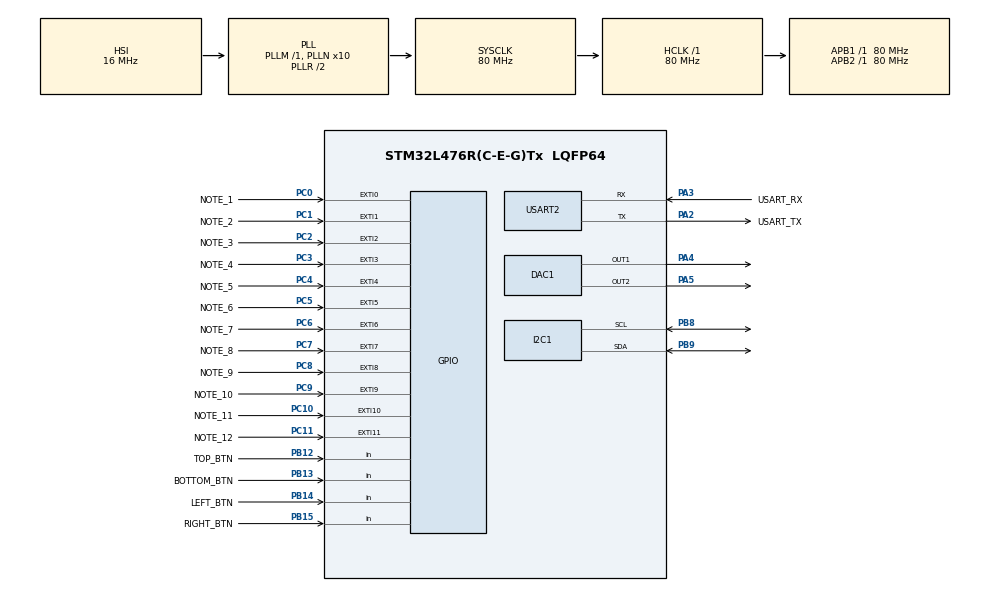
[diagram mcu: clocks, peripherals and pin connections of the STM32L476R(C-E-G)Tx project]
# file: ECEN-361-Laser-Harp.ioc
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DAC1.DAC_Channel-DAC_OUT2=DAC_CHANNEL_2
I2C1.Timing=0x10909CEC
Mcu.Family=STM32L4
Mcu.Name=STM32L476R(C-E-G)Tx
Mcu.Package=LQFP64
NVIC.EXTI0_IRQn=true\:0\:0\:false\:false\:true\:true\:true\:true
NVIC.EXTI15_10_IRQn=true\:0\:0\:false\:false\:true\:true\:true\:true
NVIC.EXTI1_IRQn=true\:0\:0\:false\:false\:true\:true\:true\:true
NVIC.EXTI2_IRQn=true\:0\:0\:false\:false\:true\:true\:true\:true
NVIC.EXTI3_IRQn=true\:0\:0\:false\:false\:true\:true\:true\:true
NVIC.EXTI4_IRQn=true\:0\:0\:false\:false\:true\:true\:true\:true
NVIC.EXTI9_5_IRQn=true\:0\:0\:false\:false\:true\:true\:true\:true
NVIC.PriorityGroup=NVIC_PRIORITYGROUP_4
NVIC.TIM1_BRK_TIM15_IRQn=true\:0\:0\:false\:false\:true\:true\:true\:true
NVIC.TIM1_UP_TIM16_IRQn=true\:0\:0\:false\:false\:true\:true\:true\:true
NVIC.TIM6_DAC_IRQn=true\:0\:0\:false\:false\:true\:true\:true\:true
NVIC.USART2_IRQn=true\:0\:0\:false\:false\:true\:true\:true\:true
PA13\ (JTMS-SWDIO).GPIO_Label=TMS
PA13\ (JTMS-SWDIO).Mode=Serial_Wire
PA13\ (JTMS-SWDIO).Signal=SYS_JTMS-SWDIO
PA14\ (JTCK-SWCLK).GPIO_Label=TCK
PA14\ (JTCK-SWCLK).Mode=Serial_Wire
PA14\ (JTCK-SWCLK).Signal=SYS_JTCK-SWCLK
PA2.GPIO_Label=USART_TX
PA2.GPIO_Mode=GPIO_MODE_AF_PP
PA2.GPIO_PuPd=GPIO_NOPULL
PA2.GPIO_Speed=GPIO_SPEED_FREQ_VERY_HIGH
PA2.Mode=Asynchronous
PA2.Signal=USART2_TX
PA3.GPIO_Label=USART_RX
PA3.GPIO_Mode=GPIO_MODE_AF_PP
PA3.GPIO_PuPd=GPIO_NOPULL
PA3.GPIO_Speed=GPIO_SPEED_FREQ_VERY_HIGH
PA3.Mode=Asynchronous
PA3.Signal=USART2_RX
PA4.Signal=COMP_DAC11_group
PA5.Signal=COMP_DAC12_group
PB12.GPIO_Label=TOP_BTN
PB12.GPIO_PuPd=GPIO_PULLUP
PB12.Signal=GPIO_Input
PB13.GPIO_Label=BOTTOM_BTN
PB13.GPIO_PuPd=GPIO_PULLUP
PB13.Signal=GPIO_Input
PB14.GPIO_Label=LEFT_BTN
PB14.GPIO_PuPd=GPIO_PULLUP
PB14.Signal=GPIO_Input
PB15.GPIO_Label=RIGHT_BTN
PB15.GPIO_PuPd=GPIO_PULLUP
PB15.Signal=GPIO_Input
PB3\ (JTDO-TRACESWO).GPIO_Label=SWO
PB3\ (JTDO-TRACESWO).Signal=SYS_JTDO-SWO
PB8.Mode=I2C
PB8.Signal=I2C1_SCL
PB9.Mode=I2C
PB9.Signal=I2C1_SDA
PC0.GPIO_Label=NOTE_1
PC0.GPIO_ModeDefaultEXTI=GPIO_MODE_IT_RISING_FALLING
PC0.Signal=GPXTI0
PC1.GPIO_Label=NOTE_2
PC1.GPIO_ModeDefaultEXTI=GPIO_MODE_IT_RISING_FALLING
PC1.GPIO_PuPd=GPIO_NOPULL
PC1.Signal=GPXTI1
PC10.GPIO_Label=NOTE_11
PC10.GPIO_ModeDefaultEXTI=GPIO_MODE_IT_RISING_FALLING
PC10.GPIO_PuPd=GPIO_NOPULL
PC10.Signal=GPXTI10
PC11.GPIO_Label=NOTE_12
PC11.GPIO_ModeDefaultEXTI=GPIO_MODE_IT_RISING_FALLING
PC11.GPIO_PuPd=GPIO_NOPULL
PC11.Signal=GPXTI11
PC14-OSC32_IN\ (PC14).Mode=LSE-External-Oscillator
PC14-OSC32_IN\ (PC14).Signal=RCC_OSC32_IN
PC15-OSC32_OUT\ (PC15).Mode=LSE-External-Oscillator
PC15-OSC32_OUT\ (PC15).Signal=RCC_OSC32_OUT
PC2.GPIO_Label=NOTE_3
PC2.GPIO_ModeDefaultEXTI=GPIO_MODE_IT_RISING_FALLING
PC2.GPIO_PuPd=GPIO_NOPULL
PC2.Signal=GPXTI2
PC3.GPIO_Label=NOTE_4
PC3.GPIO_ModeDefaultEXTI=GPIO_MODE_IT_RISING_FALLING
PC3.GPIO_PuPd=GPIO_NOPULL
PC3.Signal=GPXTI3
PC4.GPIO_Label=NOTE_5
PC4.GPIO_ModeDefaultEXTI=GPIO_MODE_IT_RISING_FALLING
PC4.Signal=GPXTI4
PC5.GPIO_Label=NOTE_6
PC5.GPIO_ModeDefaultEXTI=GPIO_MODE_IT_RISING_FALLING
PC5.Signal=GPXTI5
PC6.GPIO_Label=NOTE_7
PC6.GPIO_ModeDefaultEXTI=GPIO_MODE_IT_RISING_FALLING
PC6.Signal=GPXTI6
PC7.GPIO_Label=NOTE_8
PC7.GPIO_ModeDefaultEXTI=GPIO_MODE_IT_RISING_FALLING
PC7.Signal=GPXTI7
PC8.GPIO_Label=NOTE_9
PC8.GPIO_ModeDefaultEXTI=GPIO_MODE_IT_RISING_FALLING
PC8.GPIO_PuPd=GPIO_NOPULL
PC8.Signal=GPXTI8
PC9.GPIO_Label=NOTE_10
PC9.GPIO_ModeDefaultEXTI=GPIO_MODE_IT_RISING_FALLING
PC9.GPIO_PuPd=GPIO_NOPULL
PC9.Signal=GPXTI9
PH0-OSC_IN\ (PH0).Signal=RCC_OSC_IN
PH1-OSC_OUT\ (PH1).Signal=RCC_OSC_OUT
ProjectManager.HeapSize=0x200
ProjectManager.StackSize=0x400
ProjectManager.TargetToolchain=STM32CubeIDE
RCC.ADCFreq_Value=64000000
RCC.AHBFreq_Value=80000000
RCC.APB1Freq_Value=80000000
RCC.APB1TimFreq_Value=80000000
RCC.APB2Freq_Value=80000000
RCC.APB2TimFreq_Value=80000000
RCC.CortexFreq_Value=80000000
RCC.HCLKFreq_Value=80000000
RCC.HSE_VALUE=8000000
RCC.HSI_VALUE=16000000
RCC.MSI_VALUE=4000000
RCC.PLLN=10
RCC.PLLSourceVirtual=RCC_PLLSOURCE_HSI
RCC.PREFETCH_ENABLE=1
RCC.SYSCLKFreq_VALUE=80000000
RCC.SYSCLKSource=RCC_SYSCLKSOURCE_PLLCLK
RCC.USBFreq_Value=64000000
RCC.VCOOutputFreq_Value=160000000
SH.COMP_DAC11_group.0=DAC1_OUT1,DAC_OUT1
SH.COMP_DAC12_group.0=DAC1_OUT2,DAC_OUT2
TIM15.AutoReloadPreload=TIM_AUTORELOAD_PRELOAD_ENABLE
TIM15.Period=9
TIM15.Prescaler=80-1
TIM16.AutoReloadPreload=TIM_AUTORELOAD_PRELOAD_ENABLE
TIM16.Period=100-1
TIM16.Prescaler=3200-1
USART2.VirtualMode-Asynchronous=VM_ASYNC
VP_TIM15_VS_ClockSourceINT.Mode=Internal
VP_TIM16_VS_ClockSourceINT.Mode=Enable_Timer
board=NUCLEO-L476RG

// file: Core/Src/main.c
/* USER CODE BEGIN Header */
/*
    __                               __  __
   / /   ____ _ _____ ___   _____   / / / /____ _ _____ ____
  / /   / __ `// ___// _ \ / ___/  / /_/ // __ `// ___// __ \
 / /___/ /_/ /(__  )/  __// /     / __  // /_/ // /   / /_/ /
/_____/\__,_//____/ \___//_/     /_/ /_/ \__,_//_/   / .___/
                                                    /_/
*/
/**
  ******************************************************************************
  * @file           : main.c
  * @brief          : Main program body
  ******************************************************************************
  * @attention
  *
  * Copyright (c) 2024 STMicroelectronics.
  * All rights reserved.
  *
  * This software is licensed under terms that can be found in the LICENSE file
  * in the root directory of this software component.
  * If no LICENSE file comes with this software, it is provided AS-IS.
  *
  ******************************************************************************
  * Authors: Ian Searle, Marshall Potts
  * Version: 1.0.0
  */
/* USER CODE END Header */
#include "main.h"

/* USER CODE BEGIN Includes */
//#include "sine_tables.h"
#include "tranposition.h"
#include "I2C_commands.h"
#include "screen.h"
#include "menu.h"
#include "sustain.h"

/* USER CODE END Includes */

/* USER CODE BEGIN PM */

/* These defines represent the point in a list where that notes data is held.*/
#define NOTE_C 		0
#define NOTE_Cs 	1
#define NOTE_D 		2
#define NOTE_Ds 	3
#define NOTE_E 		4
#define NOTE_F 		5
#define NOTE_Fs 	6
#define NOTE_G 		7
#define NOTE_Gs 	8
#define NOTE_A 		9
#define NOTE_As		10
#define NOTE_B 		11

/* USER CODE END PM */

DAC_HandleTypeDef hdac1;

I2C_HandleTypeDef hi2c1;

TIM_HandleTypeDef htim15;
TIM_HandleTypeDef htim16;

UART_HandleTypeDef huart2;

/* USER CODE BEGIN PV */
/* Index and Active are lists that are 12 long. This is to improve spatial locality in the program.
Using the above stated define we can thats notes data from the list*/

int my_index[] = {0,0,0,0,0,0,0,0,0,0,0,0};
int active[] = {0,0,0,0,0,0,0,0,0,0,0,0};

//variables to signify whether the note named should be sustained. Used in sustain.c
int sustain_C = 0;
int sustain_Cs = 0;
int sustain_D = 0;
int sustain_Ds = 0;
int sustain_E = 0;
int sustain_F = 0;
int sustain_Fs = 0;
int sustain_G = 0;
int sustain_Gs = 0;
int sustain_A = 0;
int sustain_As = 0;
int sustain_B = 0;

//char screen_out[] ={"H","e","l","l","o"};

/* USER CODE END PV */

void SystemClock_Config(void);
static void MX_GPIO_Init(void);
static void MX_USART2_UART_Init(void);
static void MX_DAC1_Init(void);
static void MX_TIM15_Init(void);
static void MX_I2C1_Init(void);
static void MX_TIM16_Init(void);

int main(void)
{

  /* MCU Configuration--------------------------------------------------------*/

  /* Reset of all peripherals, Initializes the Flash interface and the Systick. */
  HAL_Init();

  /* Configure the system clock */
  SystemClock_Config();

  /* Initialize all configured peripherals */
  MX_GPIO_Init();
  MX_USART2_UART_Init();
  MX_DAC1_Init();
  MX_TIM15_Init();
  MX_I2C1_Init();
  MX_TIM16_Init();
  /* USER CODE BEGIN 2 */

  HAL_TIM_Base_Start_IT(&htim15); // Start the Music Interrupt Timer
  HAL_TIM_Base_Start_IT(&htim16); // Star the Sustain Interrupt Timer

  HAL_DAC_Start(&hdac1, DAC_CHANNEL_2); // Start one of the dac channels
  HAL_DAC_Start(&hdac1, DAC_CHANNEL_1); // Start one of the dac channels

  tranposition__increment_octave();
  menu_init();
  lcd_init();
  /* USER CODE END 2 */

  /* Infinite loop */
  /* USER CODE BEGIN WHILE */
  while (1)
  {
	  poll_buttons();
	  HAL_Delay(50);

    /* USER CODE END WHILE */

  }
}

void SystemClock_Config(void)
{
  RCC_OscInitTypeDef RCC_OscInitStruct = {0};
  RCC_ClkInitTypeDef RCC_ClkInitStruct = {0};

  /** Configure the main internal regulator output voltage
  */
  if (HAL_PWREx_ControlVoltageScaling(PWR_REGULATOR_VOLTAGE_SCALE1) != HAL_OK)
  {
    Error_Handler();
  }

  /** Initializes the RCC Oscillators according to the specified parameters
  * in the RCC_OscInitTypeDef structure.
  */
  RCC_OscInitStruct.OscillatorType = RCC_OSCILLATORTYPE_HSI;
  RCC_OscInitStruct.HSIState = RCC_HSI_ON;
  RCC_OscInitStruct.HSICalibrationValue = RCC_HSICALIBRATION_DEFAULT;
  RCC_OscInitStruct.PLL.PLLState = RCC_PLL_ON;
  RCC_OscInitStruct.PLL.PLLSource = RCC_PLLSOURCE_HSI;
  RCC_OscInitStruct.PLL.PLLM = 1;
  RCC_OscInitStruct.PLL.PLLN = 10;
  RCC_OscInitStruct.PLL.PLLP = RCC_PLLP_DIV7;
  RCC_OscInitStruct.PLL.PLLQ = RCC_PLLQ_DIV2;
  RCC_OscInitStruct.PLL.PLLR = RCC_PLLR_DIV2;
  if (HAL_RCC_OscConfig(&RCC_OscInitStruct) != HAL_OK)
  {
    Error_Handler();
  }

  /** Initializes the CPU, AHB and APB buses clocks
  */
  RCC_ClkInitStruct.ClockType = RCC_CLOCKTYPE_HCLK|RCC_CLOCKTYPE_SYSCLK
                              |RCC_CLOCKTYPE_PCLK1|RCC_CLOCKTYPE_PCLK2;
  RCC_ClkInitStruct.SYSCLKSource = RCC_SYSCLKSOURCE_PLLCLK;
  RCC_ClkInitStruct.AHBCLKDivider = RCC_SYSCLK_DIV1;
  RCC_ClkInitStruct.APB1CLKDivider = RCC_HCLK_DIV1;
  RCC_ClkInitStruct.APB2CLKDivider = RCC_HCLK_DIV1;

  if (HAL_RCC_ClockConfig(&RCC_ClkInitStruct, FLASH_LATENCY_4) != HAL_OK)
  {
    Error_Handler();
  }
}

static void MX_DAC1_Init(void)
{

  DAC_ChannelConfTypeDef sConfig = {0};

  /** DAC Initialization
  */
  hdac1.Instance = DAC1;
  if (HAL_DAC_Init(&hdac1) != HAL_OK)
  {
    Error_Handler();
  }

  /** DAC channel OUT1 config
  */
  sConfig.DAC_SampleAndHold = DAC_SAMPLEANDHOLD_DISABLE;
  sConfig.DAC_Trigger = DAC_TRIGGER_NONE;
  sConfig.DAC_OutputBuffer = DAC_OUTPUTBUFFER_ENABLE;
  sConfig.DAC_ConnectOnChipPeripheral = DAC_CHIPCONNECT_DISABLE;
  sConfig.DAC_UserTrimming = DAC_TRIMMING_FACTORY;
  if (HAL_DAC_ConfigChannel(&hdac1, &sConfig, DAC_CHANNEL_1) != HAL_OK)
  {
    Error_Handler();
  }

  /** DAC channel OUT2 config
  */
  if (HAL_DAC_ConfigChannel(&hdac1, &sConfig, DAC_CHANNEL_2) != HAL_OK)
  {
    Error_Handler();
  }

}

static void MX_I2C1_Init(void)
{

  hi2c1.Instance = I2C1;
  hi2c1.Init.Timing = 0x10909CEC;
  hi2c1.Init.OwnAddress1 = 0;
  hi2c1.Init.AddressingMode = I2C_ADDRESSINGMODE_7BIT;
  hi2c1.Init.DualAddressMode = I2C_DUALADDRESS_DISABLE;
  hi2c1.Init.OwnAddress2 = 0;
  hi2c1.Init.OwnAddress2Masks = I2C_OA2_NOMASK;
  hi2c1.Init.GeneralCallMode = I2C_GENERALCALL_DISABLE;
  hi2c1.Init.NoStretchMode = I2C_NOSTRETCH_DISABLE;
  if (HAL_I2C_Init(&hi2c1) != HAL_OK)
  {
    Error_Handler();
  }

  /** Configure Analogue filter
  */
  if (HAL_I2CEx_ConfigAnalogFilter(&hi2c1, I2C_ANALOGFILTER_ENABLE) != HAL_OK)
  {
    Error_Handler();
  }

  /** Configure Digital filter
  */
  if (HAL_I2CEx_ConfigDigitalFilter(&hi2c1, 0) != HAL_OK)
  {
    Error_Handler();
  }

}

static void MX_TIM15_Init(void)
{

  TIM_ClockConfigTypeDef sClockSourceConfig = {0};
  TIM_MasterConfigTypeDef sMasterConfig = {0};

  htim15.Instance = TIM15;
  htim15.Init.Prescaler = 80-1;
  htim15.Init.CounterMode = TIM_COUNTERMODE_UP;
  htim15.Init.Period = 9;
  htim15.Init.ClockDivision = TIM_CLOCKDIVISION_DIV1;
  htim15.Init.RepetitionCounter = 0;
  htim15.Init.AutoReloadPreload = TIM_AUTORELOAD_PRELOAD_ENABLE;
  if (HAL_TIM_Base_Init(&htim15) != HAL_OK)
  {
    Error_Handler();
  }
  sClockSourceConfig.ClockSource = TIM_CLOCKSOURCE_INTERNAL;
  if (HAL_TIM_ConfigClockSource(&htim15, &sClockSourceConfig) != HAL_OK)
  {
    Error_Handler();
  }
  sMasterConfig.MasterOutputTrigger = TIM_TRGO_RESET;
  sMasterConfig.MasterSlaveMode = TIM_MASTERSLAVEMODE_DISABLE;
  if (HAL_TIMEx_MasterConfigSynchronization(&htim15, &sMasterConfig) != HAL_OK)
  {
    Error_Handler();
  }

}

static void MX_TIM16_Init(void)
{

  htim16.Instance = TIM16;
  htim16.Init.Prescaler = 3200-1;
  htim16.Init.CounterMode = TIM_COUNTERMODE_UP;
  htim16.Init.Period = 100-1;
  htim16.Init.ClockDivision = TIM_CLOCKDIVISION_DIV1;
  htim16.Init.RepetitionCounter = 0;
  htim16.Init.AutoReloadPreload = TIM_AUTORELOAD_PRELOAD_ENABLE;
  if (HAL_TIM_Base_Init(&htim16) != HAL_OK)
  {
    Error_Handler();
  }

}

static void MX_USART2_UART_Init(void)
{

  huart2.Instance = USART2;
  huart2.Init.BaudRate = 115200;
  huart2.Init.WordLength = UART_WORDLENGTH_8B;
  huart2.Init.StopBits = UART_STOPBITS_1;
  huart2.Init.Parity = UART_PARITY_NONE;
  huart2.Init.Mode = UART_MODE_TX_RX;
  huart2.Init.HwFlowCtl = UART_HWCONTROL_NONE;
  huart2.Init.OverSampling = UART_OVERSAMPLING_16;
  huart2.Init.OneBitSampling = UART_ONE_BIT_SAMPLE_DISABLE;
  huart2.AdvancedInit.AdvFeatureInit = UART_ADVFEATURE_NO_INIT;
  if (HAL_UART_Init(&huart2) != HAL_OK)
  {
    Error_Handler();
  }

}

static void MX_GPIO_Init(void)
{
  GPIO_InitTypeDef GPIO_InitStruct = {0};

  /* GPIO Ports Clock Enable */
  __HAL_RCC_GPIOC_CLK_ENABLE();
  __HAL_RCC_GPIOH_CLK_ENABLE();
  __HAL_RCC_GPIOA_CLK_ENABLE();
  __HAL_RCC_GPIOB_CLK_ENABLE();

  /*Configure GPIO pins : NOTE_1_Pin NOTE_2_Pin NOTE_3_Pin NOTE_4_Pin
                           NOTE_5_Pin NOTE_6_Pin NOTE_7_Pin NOTE_8_Pin
                           NOTE_9_Pin NOTE_10_Pin NOTE_11_Pin NOTE_12_Pin */
  GPIO_InitStruct.Pin = NOTE_1_Pin|NOTE_2_Pin|NOTE_3_Pin|NOTE_4_Pin
                          |NOTE_5_Pin|NOTE_6_Pin|NOTE_7_Pin|NOTE_8_Pin
                          |NOTE_9_Pin|NOTE_10_Pin|NOTE_11_Pin|NOTE_12_Pin;
  GPIO_InitStruct.Mode = GPIO_MODE_IT_RISING_FALLING;
  GPIO_InitStruct.Pull = GPIO_NOPULL;
  HAL_GPIO_Init(GPIOC, &GPIO_InitStruct);

  /*Configure GPIO pins : TOP_BTN_Pin BOTTOM_BTN_Pin LEFT_BTN_Pin RIGHT_BTN_Pin */
  GPIO_InitStruct.Pin = TOP_BTN_Pin|BOTTOM_BTN_Pin|LEFT_BTN_Pin|RIGHT_BTN_Pin;
  GPIO_InitStruct.Mode = GPIO_MODE_INPUT;
  GPIO_InitStruct.Pull = GPIO_PULLUP;
  HAL_GPIO_Init(GPIOB, &GPIO_InitStruct);

  /* EXTI interrupt init*/
  HAL_NVIC_SetPriority(EXTI0_IRQn, 0, 0);
  HAL_NVIC_EnableIRQ(EXTI0_IRQn);

  HAL_NVIC_SetPriority(EXTI1_IRQn, 0, 0);
  HAL_NVIC_EnableIRQ(EXTI1_IRQn);

  HAL_NVIC_SetPriority(EXTI2_IRQn, 0, 0);
  HAL_NVIC_EnableIRQ(EXTI2_IRQn);

  HAL_NVIC_SetPriority(EXTI3_IRQn, 0, 0);
  HAL_NVIC_EnableIRQ(EXTI3_IRQn);

  HAL_NVIC_SetPriority(EXTI4_IRQn, 0, 0);
  HAL_NVIC_EnableIRQ(EXTI4_IRQn);

  HAL_NVIC_SetPriority(EXTI9_5_IRQn, 0, 0);
  HAL_NVIC_EnableIRQ(EXTI9_5_IRQn);

  HAL_NVIC_SetPriority(EXTI15_10_IRQn, 0, 0);
  HAL_NVIC_EnableIRQ(EXTI15_10_IRQn);

}

/* USER CODE BEGIN 4 */
void HAL_GPIO_EXTI_Callback(uint16_t GPIO_Pin){
	switch (GPIO_Pin) {

	// check if laser is broken and toggle with changes in laser state (rising and falling edge)
	// set flag for the sustain of each note with each activation

	case NOTE_1_Pin:
		if(HAL_GPIO_ReadPin(NOTE_1_GPIO_Port, NOTE_1_Pin) == 0)
		{
			active[NOTE_C] = 1;
			sustain_C = 1; // set flag for sustaining note. flag is reset in the sustain.c file after ~ 10s.
		}
		else
		{
			active[NOTE_C] = 0;
			sustain_C = 0;
		}
		//active[NOTE_C] = !active[NOTE_C];

		break;

	case NOTE_2_Pin:
		if(HAL_GPIO_ReadPin(NOTE_2_GPIO_Port, NOTE_2_Pin) == 0)
		{
			active[NOTE_Cs] = 1;
			sustain_Cs = 1;
		}
		else
		{
			active[NOTE_Cs] = 0;
			sustain_Cs = 0;
		}
		//active[NOTE_Cs] = !active[NOTE_Cs];
		break;

	case NOTE_3_Pin:
		if(HAL_GPIO_ReadPin(NOTE_3_GPIO_Port, NOTE_3_Pin) == 0)
		{
			active[NOTE_D] = 1;
			sustain_D = 1;
		}
		else
		{
			active[NOTE_D] = 0;
			sustain_D = 0;
		}
		break;

	case NOTE_4_Pin:
		if(HAL_GPIO_ReadPin(NOTE_4_GPIO_Port, NOTE_4_Pin) == 0)
		{
			active[NOTE_Ds] = 1;
			sustain_Ds = 1;
		}
		else
		{
			active[NOTE_Ds] = 0;
			sustain_Ds = 0;
		}
		//active[NOTE_Ds] = !active[NOTE_Ds];
		break;

	case NOTE_5_Pin:
		if(HAL_GPIO_ReadPin(NOTE_5_GPIO_Port, NOTE_5_Pin) == 0)
		{
			active[NOTE_E] = 1;
			sustain_E = 1;
		}
		else
		{
			active[NOTE_E] = 0;
			sustain_E = 0;
		}
		//active[NOTE_E] = !active[NOTE_E];
		break;

	case NOTE_6_Pin:
		if(HAL_GPIO_ReadPin(NOTE_6_GPIO_Port, NOTE_6_Pin) == 0)
		{
			active[NOTE_F] = 1;
			sustain_F = 1;
		}
		else
		{
			active[NOTE_F] = 0;
			sustain_F = 0;
		}
		//active[NOTE_F] = !active[NOTE_F];
		break;

	case NOTE_7_Pin:
		if(HAL_GPIO_ReadPin(NOTE_7_GPIO_Port, NOTE_7_Pin) == 0)
		{
			active[NOTE_Fs] = 1;
			sustain_Fs = 1;
		}
		else
		{
			active[NOTE_Fs] = 0;
			sustain_Fs = 0;
		}
		//active[NOTE_Fs] = !active[NOTE_Fs];
		break;

	case NOTE_8_Pin:
		if(HAL_GPIO_ReadPin(NOTE_8_GPIO_Port, NOTE_8_Pin) == 0)
		{
			active[NOTE_G] = 1;
			sustain_G = 1;
		}
		else
		{
			active[NOTE_G] = 0;
			sustain_G = 0;
		}
		//active[NOTE_G] = !active[NOTE_G];
		break;

	case NOTE_9_Pin:
		if(HAL_GPIO_ReadPin(NOTE_9_GPIO_Port, NOTE_9_Pin) == 0)
		{
			active[NOTE_Gs] = 1;
			sustain_Gs = 1;
		}
		else
		{
			active[NOTE_Gs] = 0;
			sustain_Gs = 0;
		}
		//active[NOTE_Gs] = !active[NOTE_Gs];
		break;

	case NOTE_10_Pin:
		if(HAL_GPIO_ReadPin(NOTE_10_GPIO_Port, NOTE_10_Pin) == 0)
		{
			active[NOTE_A] = 1;
			sustain_A = 1;
		}
		else
		{
			active[NOTE_A] = 0;
			sustain_A = 0;
		}
		//active[NOTE_A] = !active[NOTE_A];
		break;

	case NOTE_11_Pin:
		if(HAL_GPIO_ReadPin(NOTE_11_GPIO_Port, NOTE_11_Pin) == 0)
		{
			active[NOTE_As] = 1;
			sustain_As = 1;
		}
		else
		{
			active[NOTE_As] = 0;
			sustain_As = 0;
		}
		//active[NOTE_As] = !active[NOTE_As];
		break;

	case NOTE_12_Pin:
		if(HAL_GPIO_ReadPin(NOTE_12_GPIO_Port, NOTE_12_Pin) == 0)
		{
			active[NOTE_B] = 1;
			sustain_B = 1;
		}
		else
		{
			active[NOTE_B] = 0;
			sustain_B = 0;
		}
		//active[NOTE_B] = !active[NOTE_B];
		break;

	default:
		break;
	}
}

// Callback: timer has rolled over
void HAL_TIM_PeriodElapsedCallback(TIM_HandleTypeDef *htim)
{
	//timer for sustain value update at 25kHz sample rate
	if(htim == &htim16 )
	{
		// update the decay value for each note at 250Hz
		update_decay_values();
	}

	if (htim == &htim15 )
	{
		//Disable the IRQ
		//HAL_TIM_Base_Stop(htim);
		int wave = tranposition__note_update();
		//HAL_DAC_SetValue(&hdac1, DAC_CHANNEL_1, DAC_ALIGN_12B_L, wave);
		HAL_DAC_SetValue(&hdac1, DAC_CHANNEL_2, DAC_ALIGN_12B_R, wave);
		HAL_DAC_SetValue(&hdac1, DAC_CHANNEL_1, DAC_ALIGN_12B_R, wave);
		//HAL_TIM_Base_Start_IT(&htim15);
	}
}
/* USER CODE END 4 */

void Error_Handler(void)
{
  __disable_irq();
  while (1)
  {
  }
}
